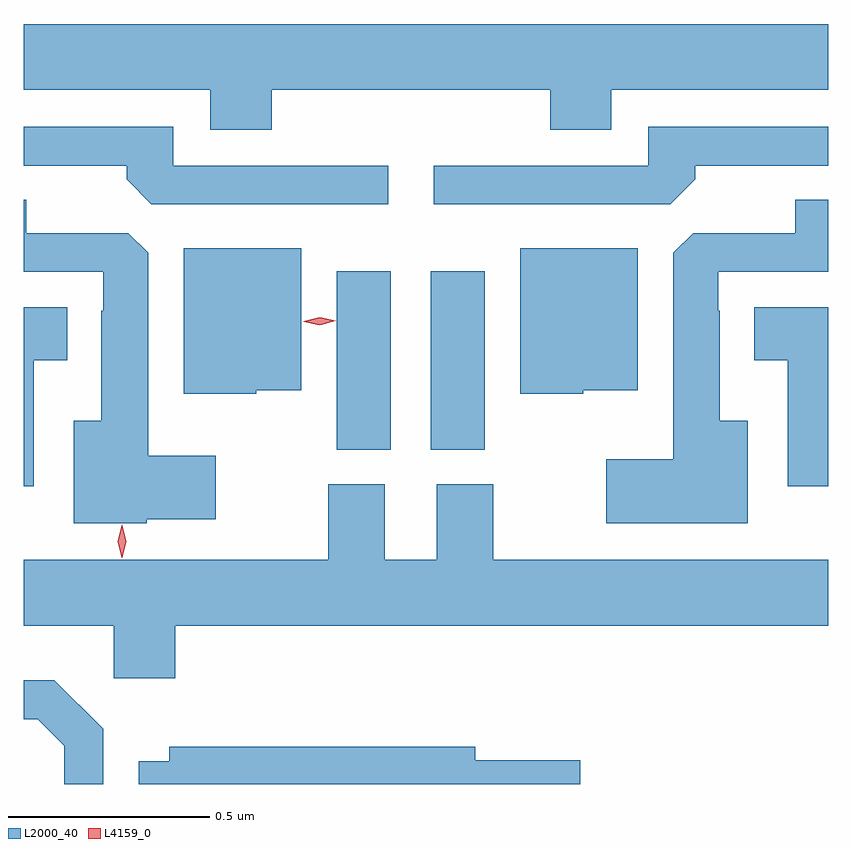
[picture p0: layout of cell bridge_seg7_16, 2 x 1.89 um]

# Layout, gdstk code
import gdstk
lib = gdstk.Library(unit=1e-6, precision=1e-09)
def R(c, l, rs):  # rectangles x0, y0, x1, y1
    for r in rs: c.add(gdstk.rectangle(r[:2], r[2:], *l))
def P(c, l, *ps):  # polygons
    for p in ps: c.add(gdstk.Polygon(p, *l))
L2000_40 = (2000, 40)
L4159_0 = (4159, 0)

bridge_seg7_16 = lib.new_cell('bridge_seg7_16')
R(bridge_seg7_16, L2000_40, [(1110.404,1042.345,1110.538,1042.789), (1110.638,1042.345,1110.772,1042.789)])
P(bridge_seg7_16, L2000_40, [(1110.242,1043.24),(1110.935,1043.24),(1110.935,1043.141),(1111.087,1043.141),(1111.087,1043.24),(1111.626,1043.24),(1111.626,1043.404),(1109.626,1043.404),(1109.626,1043.24),(1110.089,1043.24),(1110.089,1043.141),(1110.242,1043.141)],
  [(1110.532,1043.052),(1109.997,1043.052),(1109.997,1043.148),(1109.626,1043.148),(1109.626,1043.052),(1109.882,1043.052),(1109.882,1043.018),(1109.943,1042.956),(1110.532,1042.956)],
  [(1111.295,1043.018),(1111.295,1043.052),(1111.626,1043.052),(1111.626,1043.148),(1111.179,1043.148),(1111.179,1043.052),(1110.645,1043.052),(1110.645,1042.956),(1111.233,1042.956)],
  [(1109.931,1042.172),(1110.103,1042.172),(1110.103,1042.33),(1109.935,1042.33),(1109.935,1042.835),(1109.886,1042.884),(1109.632,1042.884),(1109.632,1042.967),(1109.626,1042.967),(1109.626,1042.788),(1109.823,1042.788),(1109.823,1042.691),(1109.819,1042.691),(1109.819,1042.417),(1109.75,1042.417),(1109.75,1042.163),(1109.931,1042.163)],
  [(1111.426,1042.417),(1111.357,1042.417),(1111.357,1042.691),(1111.353,1042.691),(1111.353,1042.788),(1111.626,1042.788),(1111.626,1042.967),(1111.544,1042.967),(1111.544,1042.884),(1111.29,1042.884),(1111.241,1042.835),(1111.241,1042.321),(1111.074,1042.321),(1111.074,1042.163),(1111.426,1042.163)],
  [(1111.017,1042.493),(1111.153,1042.493),(1111.153,1042.846),(1110.86,1042.846),(1110.86,1042.484),(1111.017,1042.484)],
  [(1110.204,1042.493),(1110.316,1042.493),(1110.316,1042.846),(1110.023,1042.846),(1110.023,1042.484),(1110.204,1042.484)],
  [(1111.626,1042.699),(1111.442,1042.699),(1111.442,1042.568),(1111.526,1042.568),(1111.526,1042.254),(1111.626,1042.254)],
  [(1109.65,1042.568),(1109.734,1042.568),(1109.734,1042.699),(1109.626,1042.699),(1109.626,1042.254),(1109.65,1042.254)],
  [(1110.002,1041.908),(1111.626,1041.908),(1111.626,1042.072),(1110.793,1042.072),(1110.793,1042.26),(1110.653,1042.26),(1110.653,1042.072),(1110.523,1042.072),(1110.523,1042.26),(1110.383,1042.26),(1110.383,1042.072),(1109.626,1042.072),(1109.626,1041.908),(1109.85,1041.908),(1109.85,1041.777),(1110.002,1041.777)],
  [(1109.823,1041.651),(1109.702,1041.772),(1109.626,1041.772),(1109.626,1041.675),(1109.661,1041.675),(1109.727,1041.609),(1109.727,1041.514),(1109.823,1041.514)],
  [(1111.009,1041.573),(1110.748,1041.573),(1110.748,1041.607),(1109.988,1041.607),(1109.988,1041.571),(1109.912,1041.571),(1109.912,1041.514),(1111.009,1041.514)])
P(bridge_seg7_16, L4159_0, [(1110.362,1042.655),(1110.322,1042.664),(1110.322,1042.665),(1110.322,1042.665),(1110.362,1042.675),(1110.402,1042.666),(1110.402,1042.666),(1110.402,1042.666)],
  [(1109.869,1042.077),(1109.86,1042.118),(1109.869,1042.158),(1109.87,1042.159),(1109.87,1042.158),(1109.88,1042.118),(1109.87,1042.077),(1109.87,1042.077)])

lib.write_gds('bridge_seg7_16.gds')
